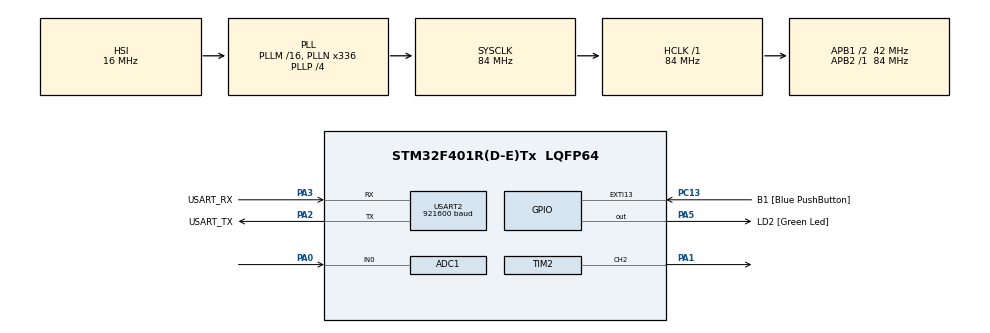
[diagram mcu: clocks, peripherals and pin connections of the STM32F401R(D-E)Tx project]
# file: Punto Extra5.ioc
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ADC1.Channel-0\#ChannelRegularConversion=ADC_CHANNEL_0
ADC1.DiscontinuousConvMode=DISABLE
ADC1.ExternalTrigConv=ADC_EXTERNALTRIGCONV_T2_CC2
ADC1.NbrOfConversionFlag=1
ADC1.Rank-0\#ChannelRegularConversion=1
ADC1.SamplingTime-0\#ChannelRegularConversion=ADC_SAMPLETIME_3CYCLES
ADC1.ScanConvMode=ENABLE
ADC1.master=1
Dma.ADC1.0.Direction=DMA_PERIPH_TO_MEMORY
Dma.ADC1.0.FIFOMode=DMA_FIFOMODE_DISABLE
Dma.ADC1.0.Instance=DMA2_Stream0
Dma.ADC1.0.MemDataAlignment=DMA_MDATAALIGN_HALFWORD
Dma.ADC1.0.MemInc=DMA_MINC_ENABLE
Dma.ADC1.0.Mode=DMA_NORMAL
Dma.ADC1.0.PeriphDataAlignment=DMA_PDATAALIGN_HALFWORD
Dma.ADC1.0.PeriphInc=DMA_PINC_DISABLE
Dma.ADC1.0.Priority=DMA_PRIORITY_LOW
Dma.Request0=ADC1
EdgeImpulse.PuntoExtra2.1.0.1.MachineLearningCcPuntoExtra2JjCore=true
Mcu.Family=STM32F4
Mcu.Name=STM32F401R(D-E)Tx
Mcu.Package=LQFP64
NVIC.DMA2_Stream0_IRQn=true\:0\:0\:false\:false\:true\:false\:true\:true
NVIC.PriorityGroup=NVIC_PRIORITYGROUP_4
PA0-WKUP.Signal=ADCx_IN0
PA1.Signal=S_TIM2_CH2
PA13.GPIO_Label=TMS
PA13.Mode=Trace_Asynchronous_SW
PA13.Signal=SYS_JTMS-SWDIO
PA14.GPIO_Label=TCK
PA14.Mode=Trace_Asynchronous_SW
PA14.Signal=SYS_JTCK-SWCLK
PA2.GPIO_Label=USART_TX
PA2.GPIO_Mode=GPIO_MODE_AF_PP
PA2.GPIO_PuPd=GPIO_NOPULL
PA2.GPIO_Speed=GPIO_SPEED_FREQ_LOW
PA2.Mode=Asynchronous
PA2.Signal=USART2_TX
PA3.GPIO_Label=USART_RX
PA3.GPIO_Mode=GPIO_MODE_AF_PP
PA3.GPIO_PuPd=GPIO_NOPULL
PA3.GPIO_Speed=GPIO_SPEED_FREQ_LOW
PA3.Mode=Asynchronous
PA3.Signal=USART2_RX
PA5.GPIO_Label=LD2 [Green Led]
PA5.GPIO_Mode=GPIO_MODE_OUTPUT_PP
PA5.GPIO_PuPd=GPIO_NOPULL
PA5.GPIO_Speed=GPIO_SPEED_FREQ_LOW
PA5.Signal=GPIO_Output
PB3.GPIO_Label=SWO
PB3.Mode=Trace_Asynchronous_SW
PB3.Signal=SYS_JTDO-SWO
PC13-ANTI_TAMP.GPIO_Label=B1 [Blue PushButton]
PC13-ANTI_TAMP.GPIO_ModeDefaultEXTI=GPIO_MODE_IT_FALLING
PC13-ANTI_TAMP.GPIO_PuPd=GPIO_NOPULL
PC13-ANTI_TAMP.Signal=GPXTI13
PC14-OSC32_IN.Mode=LSE-External-Oscillator
PC14-OSC32_IN.Signal=RCC_OSC32_IN
PC15-OSC32_OUT.Mode=LSE-External-Oscillator
PC15-OSC32_OUT.Signal=RCC_OSC32_OUT
PH0\ -\ OSC_IN.Mode=HSE-External-Clock-Source
PH0\ -\ OSC_IN.Signal=RCC_OSC_IN
PH1\ -\ OSC_OUT.Mode=HSE-External-Clock-Source
PH1\ -\ OSC_OUT.Signal=RCC_OSC_OUT
ProjectManager.HeapSize=0x200
ProjectManager.StackSize=0x400
ProjectManager.TargetToolchain=STM32CubeIDE
RCC.48MHZClocksFreq_Value=48000000
RCC.AHBFreq_Value=84000000
RCC.APB1CLKDivider=RCC_HCLK_DIV2
RCC.APB1Freq_Value=42000000
RCC.APB1TimFreq_Value=84000000
RCC.APB2Freq_Value=84000000
RCC.APB2TimFreq_Value=84000000
RCC.CortexFreq_Value=84000000
RCC.HCLKFreq_Value=84000000
RCC.HSE_VALUE=8000000
RCC.HSI_VALUE=16000000
RCC.PLLN=336
RCC.PLLP=RCC_PLLP_DIV4
RCC.PLLQ=7
RCC.SYSCLKFreq_VALUE=84000000
RCC.SYSCLKSource=RCC_SYSCLKSOURCE_PLLCLK
RCC.VCOOutputFreq_Value=336000000
SH.ADCx_IN0.0=ADC1_IN0,IN0
SH.S_TIM2_CH2.0=TIM2_CH2,PWM Generation2 CH2
TIM2.AutoReloadPreload=TIM_AUTORELOAD_PRELOAD_ENABLE
TIM2.Channel-PWM\ Generation2\ CH2=TIM_CHANNEL_2
TIM2.Period=5250 - 1
TIM2.Pulse-PWM\ Generation2\ CH2=1
TIM2.TIM_MasterOutputTrigger=TIM_TRGO_UPDATE
USART2.BaudRate=921600
USART2.VirtualMode=VM_ASYNC
VP_CRC_VS_CRC.Mode=CRC_Activate
VP_EdgeImpulse.PuntoExtra2_VS_PuntoExtra2JjMachineLearning_1.0.1_1.0.1.Mode=PuntoExtra2JjMachineLearning
VP_TIM2_VS_ClockSourceINT.Mode=Internal
board=NUCLEO-F401RE

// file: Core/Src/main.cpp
/* USER CODE BEGIN Header */
/**
  ******************************************************************************
  * @file           : main.c
  * @brief          : Main program body
  ******************************************************************************
  * @attention
  *
  * Copyright (c) 2026 STMicroelectronics.
  * All rights reserved.
  *
  * This software is licensed under terms that can be found in the LICENSE file
  * in the root directory of this software component.
  * If no LICENSE file comes with this software, it is provided AS-IS.
  *
  ******************************************************************************
  */
/* USER CODE END Header */
extern "C" {
#include "main.h"
}

/* USER CODE BEGIN Includes */
#include <stdio.h>
#include "edge-impulse-sdk/classifier/ei_run_classifier.h"
/* USER CODE END Includes */

ADC_HandleTypeDef hadc1;
DMA_HandleTypeDef hdma_adc1;

TIM_HandleTypeDef htim2;

UART_HandleTypeDef huart2;

void SystemClock_Config(void);
static void MX_GPIO_Init(void);
static void MX_DMA_Init(void);
static void MX_ADC1_Init(void);
static void MX_TIM2_Init(void);
static void MX_USART2_UART_Init(void);

/* USER CODE BEGIN 0 */
#define SAMPLE_COUNT 16000 //Numero de muestras de 16KHz en 1s
#define prueba 1600

uint16_t adc_buffer[SAMPLE_COUNT];
volatile int grabacion_lista = 0;

void HAL_ADC_ConvCpltCallback(ADC_HandleTypeDef* hadc){
	grabacion_lista = 1;
}

//Entrega datos del adc ya proceados para la IA por pedazos
//Entrega datos del adc ya procesados para la IA por pedazos
int raw_feature_get_data(size_t offset, size_t length, float *out_ptr){
    for(size_t i = 0; i < length; i++){
        // 1. Obtener muestra cruda
        int16_t raw_adc = (int16_t)adc_buffer[offset + i];

        // 2. EL SECRETO REVELADO: Restar el verdadero DC Bias de tu placa (430)
        // Esto centra tu voz perfectamente en el 0 matemático.
        int16_t pcm_value = raw_adc - 430;

        // 3. Multiplicar por 16 para igualar el volumen al micrófono de la PC de tu compañero
        // (Simulamos los 16-bits de un archivo .wav)
        pcm_value = pcm_value * 16;

        // 4. Entregar el dato a Edge Impulse
        out_ptr[i] = (float)pcm_value;
    }
    return 0;
}

/* USER CODE END 0 */

int main(void)
{

  /* MCU Configuration--------------------------------------------------------*/

  /* Reset of all peripherals, Initializes the Flash interface and the Systick. */
  HAL_Init();

  /* Configure the system clock */
  SystemClock_Config();

  /* Initialize all configured peripherals */
  MX_GPIO_Init();
  MX_DMA_Init();
  MX_ADC1_Init();
  MX_TIM2_Init();
  MX_USART2_UART_Init();

  /* Infinite loop */
  /* USER CODE BEGIN WHILE */
  while (1)
  {
	  // --- 1. AVISO PARA HABLAR ---
	        char aviso[] = "\r\n[ >>> HABLE AHORA <<< ]\r\n";
	        HAL_UART_Transmit(&huart2, (uint8_t*)aviso, strlen(aviso), 100);
	        // --- 2. GRABAR ---
	        grabacion_lista = 0;
	        HAL_ADC_Start_DMA(&hadc1, (uint32_t*)adc_buffer, SAMPLE_COUNT);
	        HAL_TIM_PWM_Start(&htim2, TIM_CHANNEL_2);

	        while(grabacion_lista == 0){
	            // Esperar a capturar el segundo completo
	        }

	        HAL_TIM_PWM_Stop(&htim2, TIM_CHANNEL_2);
	        HAL_ADC_Stop_DMA(&hadc1);

	        // --- 3. AVISO DE PROCESAMIENTO ---
	        char aviso2[] = "[ Procesando... ]\r\n";
	        HAL_UART_Transmit(&huart2, (uint8_t*)aviso2, strlen(aviso2), 100);

	        // --- 4. EJECUTAR IA ---
	        signal_t signal;
	        signal.total_length = SAMPLE_COUNT;
	        signal.get_data = &raw_feature_get_data;

	        ei_impulse_result_t result = {0};
	        int err = run_classifier(&signal, &result, false);

	        if(err != EI_IMPULSE_OK){
	            continue;
	        }

	        // --- 5. RESULTADOS ---
	        char msg[50];
	        for(size_t ix = 0; ix < EI_CLASSIFIER_LABEL_COUNT; ix++){
	            // Solo imprime si tiene más del 75% de seguridad
	            if(result.classification[ix].value > 0.75f){
	                int len = sprintf(msg, "--> %s (%.2f)\r\n",
	                                  result.classification[ix].label,
	                                  result.classification[ix].value);
	                HAL_UART_Transmit(&huart2, (uint8_t*)msg, len, 1000);
	            }
	        }

	        // Pausa breve antes del siguiente ciclo para que puedas leer
	        HAL_Delay(1000);
    /* USER CODE END WHILE */

  }
}

void SystemClock_Config(void)
{
  RCC_OscInitTypeDef RCC_OscInitStruct = {0};
  RCC_ClkInitTypeDef RCC_ClkInitStruct = {0};

  /** Configure the main internal regulator output voltage
  */
  __HAL_RCC_PWR_CLK_ENABLE();
  __HAL_PWR_VOLTAGESCALING_CONFIG(PWR_REGULATOR_VOLTAGE_SCALE2);

  /** Initializes the RCC Oscillators according to the specified parameters
  * in the RCC_OscInitTypeDef structure.
  */
  RCC_OscInitStruct.OscillatorType = RCC_OSCILLATORTYPE_HSI;
  RCC_OscInitStruct.HSIState = RCC_HSI_ON;
  RCC_OscInitStruct.HSICalibrationValue = RCC_HSICALIBRATION_DEFAULT;
  RCC_OscInitStruct.PLL.PLLState = RCC_PLL_ON;
  RCC_OscInitStruct.PLL.PLLSource = RCC_PLLSOURCE_HSI;
  RCC_OscInitStruct.PLL.PLLM = 16;
  RCC_OscInitStruct.PLL.PLLN = 336;
  RCC_OscInitStruct.PLL.PLLP = RCC_PLLP_DIV4;
  RCC_OscInitStruct.PLL.PLLQ = 7;
  if (HAL_RCC_OscConfig(&RCC_OscInitStruct) != HAL_OK)
  {
    Error_Handler();
  }

  /** Initializes the CPU, AHB and APB buses clocks
  */
  RCC_ClkInitStruct.ClockType = RCC_CLOCKTYPE_HCLK|RCC_CLOCKTYPE_SYSCLK
                              |RCC_CLOCKTYPE_PCLK1|RCC_CLOCKTYPE_PCLK2;
  RCC_ClkInitStruct.SYSCLKSource = RCC_SYSCLKSOURCE_PLLCLK;
  RCC_ClkInitStruct.AHBCLKDivider = RCC_SYSCLK_DIV1;
  RCC_ClkInitStruct.APB1CLKDivider = RCC_HCLK_DIV2;
  RCC_ClkInitStruct.APB2CLKDivider = RCC_HCLK_DIV1;

  if (HAL_RCC_ClockConfig(&RCC_ClkInitStruct, FLASH_LATENCY_2) != HAL_OK)
  {
    Error_Handler();
  }
}

static void MX_ADC1_Init(void)
{

  ADC_ChannelConfTypeDef sConfig = {0};

  /** Configure the global features of the ADC (Clock, Resolution, Data Alignment and number of conversion)
  */
  hadc1.Instance = ADC1;
  hadc1.Init.ClockPrescaler = ADC_CLOCK_SYNC_PCLK_DIV4;
  hadc1.Init.Resolution = ADC_RESOLUTION_12B;
  hadc1.Init.ScanConvMode = ENABLE;
  hadc1.Init.ContinuousConvMode = DISABLE;
  hadc1.Init.DiscontinuousConvMode = DISABLE;
  hadc1.Init.ExternalTrigConvEdge = ADC_EXTERNALTRIGCONVEDGE_RISING;
  hadc1.Init.ExternalTrigConv = ADC_EXTERNALTRIGCONV_T2_CC2;
  hadc1.Init.DataAlign = ADC_DATAALIGN_RIGHT;
  hadc1.Init.NbrOfConversion = 1;
  hadc1.Init.DMAContinuousRequests = DISABLE;
  hadc1.Init.EOCSelection = ADC_EOC_SINGLE_CONV;
  if (HAL_ADC_Init(&hadc1) != HAL_OK)
  {
    Error_Handler();
  }

  /** Configure for the selected ADC regular channel its corresponding rank in the sequencer and its sample time.
  */
  sConfig.Channel = ADC_CHANNEL_0;
  sConfig.Rank = 1;
  sConfig.SamplingTime = ADC_SAMPLETIME_3CYCLES;
  if (HAL_ADC_ConfigChannel(&hadc1, &sConfig) != HAL_OK)
  {
    Error_Handler();
  }

}

static void MX_TIM2_Init(void)
{

  TIM_ClockConfigTypeDef sClockSourceConfig = {0};
  TIM_MasterConfigTypeDef sMasterConfig = {0};
  TIM_OC_InitTypeDef sConfigOC = {0};

  htim2.Instance = TIM2;
  htim2.Init.Prescaler = 0;
  htim2.Init.CounterMode = TIM_COUNTERMODE_UP;
  htim2.Init.Period = 5250 - 1;
  htim2.Init.ClockDivision = TIM_CLOCKDIVISION_DIV1;
  htim2.Init.AutoReloadPreload = TIM_AUTORELOAD_PRELOAD_ENABLE;
  if (HAL_TIM_Base_Init(&htim2) != HAL_OK)
  {
    Error_Handler();
  }
  sClockSourceConfig.ClockSource = TIM_CLOCKSOURCE_INTERNAL;
  if (HAL_TIM_ConfigClockSource(&htim2, &sClockSourceConfig) != HAL_OK)
  {
    Error_Handler();
  }
  if (HAL_TIM_PWM_Init(&htim2) != HAL_OK)
  {
    Error_Handler();
  }
  sMasterConfig.MasterOutputTrigger = TIM_TRGO_UPDATE;
  sMasterConfig.MasterSlaveMode = TIM_MASTERSLAVEMODE_DISABLE;
  if (HAL_TIMEx_MasterConfigSynchronization(&htim2, &sMasterConfig) != HAL_OK)
  {
    Error_Handler();
  }
  sConfigOC.OCMode = TIM_OCMODE_PWM1;
  sConfigOC.Pulse = 1;
  sConfigOC.OCPolarity = TIM_OCPOLARITY_HIGH;
  sConfigOC.OCFastMode = TIM_OCFAST_DISABLE;
  if (HAL_TIM_PWM_ConfigChannel(&htim2, &sConfigOC, TIM_CHANNEL_2) != HAL_OK)
  {
    Error_Handler();
  }
  HAL_TIM_MspPostInit(&htim2);

}

static void MX_USART2_UART_Init(void)
{

  huart2.Instance = USART2;
  huart2.Init.BaudRate = 1843200;
  huart2.Init.WordLength = UART_WORDLENGTH_8B;
  huart2.Init.StopBits = UART_STOPBITS_1;
  huart2.Init.Parity = UART_PARITY_NONE;
  huart2.Init.Mode = UART_MODE_TX_RX;
  huart2.Init.HwFlowCtl = UART_HWCONTROL_NONE;
  huart2.Init.OverSampling = UART_OVERSAMPLING_16;
  if (HAL_UART_Init(&huart2) != HAL_OK)
  {
    Error_Handler();
  }

}

static void MX_DMA_Init(void)
{

  /* DMA controller clock enable */
  __HAL_RCC_DMA2_CLK_ENABLE();

  /* DMA interrupt init */
  /* DMA2_Stream0_IRQn interrupt configuration */
  HAL_NVIC_SetPriority(DMA2_Stream0_IRQn, 0, 0);
  HAL_NVIC_EnableIRQ(DMA2_Stream0_IRQn);

}

static void MX_GPIO_Init(void)
{
  GPIO_InitTypeDef GPIO_InitStruct = {0};

  /* GPIO Ports Clock Enable */
  __HAL_RCC_GPIOC_CLK_ENABLE();
  __HAL_RCC_GPIOH_CLK_ENABLE();
  __HAL_RCC_GPIOA_CLK_ENABLE();
  __HAL_RCC_GPIOB_CLK_ENABLE();

  /*Configure GPIO pin Output Level */
  HAL_GPIO_WritePin(LD2_GPIO_Port, LD2_Pin, GPIO_PIN_RESET);

  /*Configure GPIO pin : B1_Pin */
  GPIO_InitStruct.Pin = B1_Pin;
  GPIO_InitStruct.Mode = GPIO_MODE_IT_FALLING;
  GPIO_InitStruct.Pull = GPIO_NOPULL;
  HAL_GPIO_Init(B1_GPIO_Port, &GPIO_InitStruct);

  /*Configure GPIO pin : LD2_Pin */
  GPIO_InitStruct.Pin = LD2_Pin;
  GPIO_InitStruct.Mode = GPIO_MODE_OUTPUT_PP;
  GPIO_InitStruct.Pull = GPIO_NOPULL;
  GPIO_InitStruct.Speed = GPIO_SPEED_FREQ_LOW;
  HAL_GPIO_Init(LD2_GPIO_Port, &GPIO_InitStruct);

}

void Error_Handler(void)
{
  __disable_irq();
  while (1)
  {
  }
}
